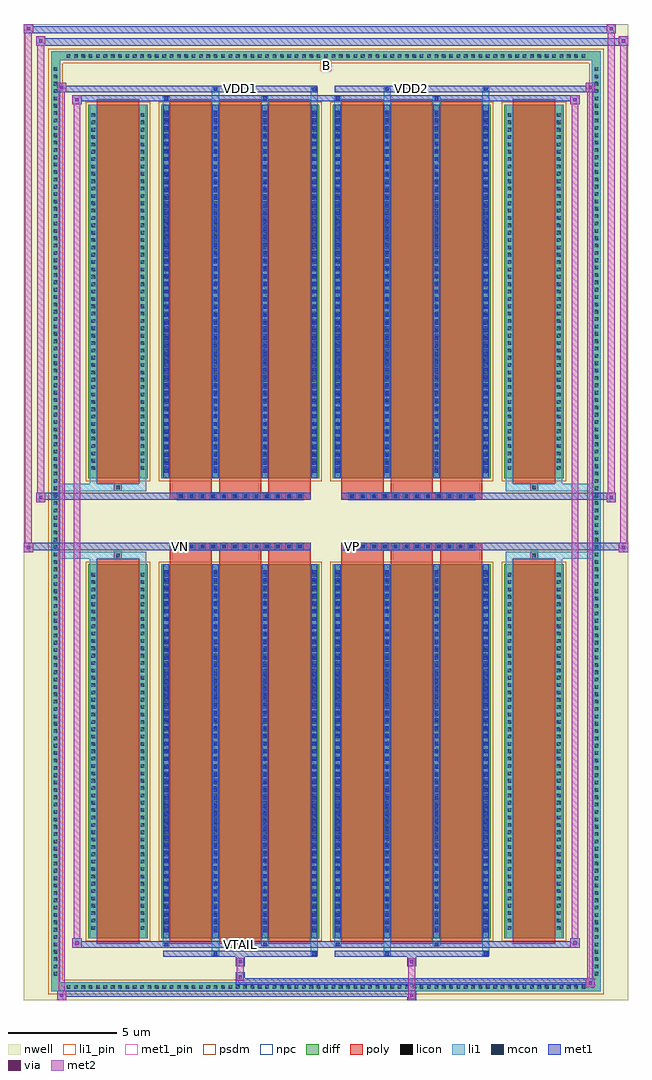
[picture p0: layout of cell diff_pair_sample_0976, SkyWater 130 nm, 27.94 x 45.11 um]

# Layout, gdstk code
import gdstk
lib = gdstk.Library(unit=1e-6, precision=5e-09)
def R(c, l, rs):  # rectangles x0, y0, x1, y1
    for r in rs: c.add(gdstk.rectangle(r[:2], r[2:], *l))
def A(c, l, x, y, w, h, nx, ny, dx, dy):  # array of equal rectangles
    R(c, l, [(x+i*dx, y+j*dy, x+i*dx+w, y+j*dy+h) for i in range(nx) for j in range(ny)])
def P(c, l, *ps):  # polygons
    for p in ps: c.add(gdstk.Polygon(p, *l))
nwell = (64, 20)
diff = (65, 20)
poly = (66, 20)
licon = (66, 44)
li1_pin = (67, 16)
li1 = (67, 20)
mcon = (67, 44)
met1_pin = (68, 16)
met1 = (68, 20)
via = (68, 44)
met2 = (69, 20)
psdm = (94, 20)
npc = (95, 20)

diff_pair_sample_0976 = lib.new_cell('diff_pair_sample_0976')
R(diff_pair_sample_0976, nwell, [(-13.97,-22.12,13.97,22.99), (-11.29,-20.31,-0.01,-0.795), (0.01,-20.31,11.29,-0.795), (-11.29,0.795,-0.01,20.31), (0.01,0.795,11.29,20.31)])
A(diff_pair_sample_0976, diff, -12.105, -21.72, 0.41, 0.41, 71, 2, 0.34, 43.03)
A(diff_pair_sample_0976, diff, -12.7, -21.115, 0.41, 0.41, 1, 124, 0, 0.34)
A(diff_pair_sample_0976, diff, 12.29, -21.115, 0.41, 0.41, 1, 124, 0, 0.34)
R(diff_pair_sample_0976, diff, [(-12.105,-21.72,12.105,-21.31), (-12.7,-21.115,-12.29,21.115), (12.29,-21.115,12.7,21.115), (-10.98,-19.265,-8.25,-1.985), (-7.61,-19.265,-0.32,-1.985), (0.32,-19.265,7.61,-1.985), (8.25,-19.265,10.98,-1.985), (-10.98,1.985,-8.25,19.265), (-7.61,1.985,-0.32,19.265), (0.32,1.985,7.61,19.265), (8.25,1.985,10.98,19.265), (-12.105,21.31,12.105,21.72)])
P(diff_pair_sample_0976, diff, [(12.7,21.72),(-12.7,21.72),(-12.7,-21.31),(-12.29,-21.31),(-12.29,21.31),(12.29,21.31),(12.29,-21.31),(-12.29,-21.31),(-12.7,-21.31),(-12.7,-21.72),(12.7,-21.72)])
A(diff_pair_sample_0976, poly, -7.22, -19.515, 1.95, 17.78, 3, 2, 2.28, 21.25)
A(diff_pair_sample_0976, poly, 0.71, -19.515, 1.95, 17.78, 3, 2, 2.28, 21.25)
A(diff_pair_sample_0976, poly, -7.22, -1.735, 1.95, 0.41, 3, 2, 2.28, 3.06)
A(diff_pair_sample_0976, poly, 0.71, -1.735, 1.95, 0.41, 3, 2, 2.28, 3.06)
A(diff_pair_sample_0976, poly, -6.88, -1.325, 0.33, 0.33, 12, 2, 0.5, 2.32)
A(diff_pair_sample_0976, poly, 1.05, -1.325, 0.33, 0.33, 12, 2, 0.5, 2.32)
R(diff_pair_sample_0976, poly, [(-10.59,-19.515,-8.64,-1.735), (8.64,-19.515,10.59,-1.735), (-9.78,-1.735,-9.45,-1.405), (-9.78,-1.735,-9.45,-1.405), (9.45,-1.735,9.78,-1.405), (9.45,-1.735,9.78,-1.405), (-7.22,-1.325,-0.71,-0.995), (0.71,-1.325,7.22,-0.995), (-7.22,0.995,-0.71,1.325), (0.71,0.995,7.22,1.325), (-9.78,1.405,-9.45,1.735), (-9.78,1.405,-9.45,1.735), (9.45,1.405,9.78,1.735), (9.45,1.405,9.78,1.735), (-10.59,1.735,-8.64,19.515), (8.64,1.735,10.59,19.515)])
A(diff_pair_sample_0976, licon, -11.985, -21.6, 0.17, 0.17, 71, 2, 0.34, 43.03)
A(diff_pair_sample_0976, licon, -12.58, -20.995, 0.17, 0.17, 1, 124, 0, 0.34)
A(diff_pair_sample_0976, licon, 12.41, -20.995, 0.17, 0.17, 1, 124, 0, 0.34)
A(diff_pair_sample_0976, licon, -10.84, -18.87, 0.17, 0.17, 1, 49, 0, 0.34)
A(diff_pair_sample_0976, licon, -8.56, -18.87, 0.17, 0.17, 1, 49, 0, 0.34)
A(diff_pair_sample_0976, licon, -7.47, -18.87, 0.17, 0.17, 4, 49, 2.28, 0.34)
A(diff_pair_sample_0976, licon, 0.46, -18.87, 0.17, 0.17, 4, 49, 2.28, 0.34)
A(diff_pair_sample_0976, licon, 8.39, -18.87, 0.17, 0.17, 1, 49, 0, 0.34)
A(diff_pair_sample_0976, licon, 10.67, -18.87, 0.17, 0.17, 1, 49, 0, 0.34)
A(diff_pair_sample_0976, licon, -6.8, -1.245, 0.17, 0.17, 12, 2, 0.5, 2.32)
A(diff_pair_sample_0976, licon, 1.13, -1.245, 0.17, 0.17, 12, 2, 0.5, 2.32)
A(diff_pair_sample_0976, licon, -10.84, 2.38, 0.17, 0.17, 1, 49, 0, 0.34)
A(diff_pair_sample_0976, licon, -8.56, 2.38, 0.17, 0.17, 1, 49, 0, 0.34)
A(diff_pair_sample_0976, licon, -7.47, 2.38, 0.17, 0.17, 4, 49, 2.28, 0.34)
A(diff_pair_sample_0976, licon, 0.46, 2.38, 0.17, 0.17, 4, 49, 2.28, 0.34)
A(diff_pair_sample_0976, licon, 8.39, 2.38, 0.17, 0.17, 1, 49, 0, 0.34)
A(diff_pair_sample_0976, licon, 10.67, 2.38, 0.17, 0.17, 1, 49, 0, 0.34)
R(diff_pair_sample_0976, licon, [(-9.7,-1.655,-9.53,-1.485), (9.53,-1.655,9.7,-1.485), (-9.7,1.485,-9.53,1.655), (9.53,1.485,9.7,1.655)])
R(diff_pair_sample_0976, li1_pin, [(-0.25,20.81,0.25,21.31)])
A(diff_pair_sample_0976, li1, -12.065, -21.68, 0.33, 0.33, 71, 2, 0.34, 43.03)
A(diff_pair_sample_0976, li1, -12.66, -21.075, 0.33, 0.33, 1, 124, 0, 0.34)
A(diff_pair_sample_0976, li1, 12.33, -21.075, 0.33, 0.33, 1, 124, 0, 0.34)
A(diff_pair_sample_0976, li1, -7.55, -19.265, 0.33, 17.28, 4, 2, 2.28, 21.25)
A(diff_pair_sample_0976, li1, 0.38, -19.265, 0.33, 17.28, 4, 2, 2.28, 21.25)
A(diff_pair_sample_0976, li1, -7.47, -18.99, 0.17, 0.17, 4, 47, 2.28, 0.36)
A(diff_pair_sample_0976, li1, -7.47, -18.99, 0.17, 16.73, 4, 2, 2.28, 21.25)
A(diff_pair_sample_0976, li1, 0.46, -18.99, 0.17, 0.17, 4, 47, 2.28, 0.36)
A(diff_pair_sample_0976, li1, 0.46, -18.99, 0.17, 16.73, 4, 2, 2.28, 21.25)
A(diff_pair_sample_0976, li1, -10.92, -18.95, 0.33, 0.33, 1, 49, 0, 0.34)
A(diff_pair_sample_0976, li1, -8.64, -18.95, 0.33, 0.33, 1, 49, 0, 0.34)
A(diff_pair_sample_0976, li1, -7.55, -18.95, 0.33, 0.33, 4, 49, 2.28, 0.34)
A(diff_pair_sample_0976, li1, 0.38, -18.95, 0.33, 0.33, 4, 49, 2.28, 0.34)
A(diff_pair_sample_0976, li1, 8.31, -18.95, 0.33, 0.33, 1, 49, 0, 0.34)
A(diff_pair_sample_0976, li1, 10.59, -18.95, 0.33, 0.33, 1, 49, 0, 0.34)
A(diff_pair_sample_0976, li1, -6.88, -1.325, 0.33, 0.33, 12, 2, 0.5, 2.32)
A(diff_pair_sample_0976, li1, 1.05, -1.325, 0.33, 0.33, 12, 2, 0.5, 2.32)
A(diff_pair_sample_0976, li1, -7.47, 2.26, 0.17, 0.17, 4, 47, 2.28, 0.36)
A(diff_pair_sample_0976, li1, 0.46, 2.26, 0.17, 0.17, 4, 47, 2.28, 0.36)
A(diff_pair_sample_0976, li1, -10.92, 2.3, 0.33, 0.33, 1, 49, 0, 0.34)
A(diff_pair_sample_0976, li1, -8.64, 2.3, 0.33, 0.33, 1, 49, 0, 0.34)
A(diff_pair_sample_0976, li1, -7.55, 2.3, 0.33, 0.33, 4, 49, 2.28, 0.34)
A(diff_pair_sample_0976, li1, 0.38, 2.3, 0.33, 0.33, 4, 49, 2.28, 0.34)
A(diff_pair_sample_0976, li1, 8.31, 2.3, 0.33, 0.33, 1, 49, 0, 0.34)
A(diff_pair_sample_0976, li1, 10.59, 2.3, 0.33, 0.33, 1, 49, 0, 0.34)
R(diff_pair_sample_0976, li1, [(-12.7,-21.72,-12.29,-21.31), (-12.7,-21.72,-12.29,-21.31), (-12.29,-21.72,12.29,-21.31), (12.29,-21.72,12.7,-21.31), (12.29,-21.72,12.7,-21.31), (-12.7,-21.31,-12.29,21.31), (12.29,-21.31,12.7,21.31), (-5.27,-20.07,-4.94,-19.265), (-5.19,-20.07,-5.02,-19.9), (-0.71,-20.07,-0.38,-19.265), (-0.63,-20.07,-0.46,-19.9), (2.66,-20.07,2.99,-19.265), (2.74,-20.07,2.91,-19.9), (7.22,-20.07,7.55,-19.265), (7.3,-20.07,7.47,-19.9), (-7.55,-19.64,-7.22,-19.265), (-7.47,-19.64,-7.3,-19.47), (-2.99,-19.64,-2.66,-19.265), (-2.91,-19.64,-2.74,-19.47), (0.38,-19.64,0.71,-19.265), (0.46,-19.64,0.63,-19.47), (4.94,-19.64,5.27,-19.265), (5.02,-19.64,5.19,-19.47), (-10.92,-19.265,-10.59,-1.985), (-8.64,-19.265,-8.31,-1.985), (8.31,-19.265,8.64,-1.985), (10.59,-19.265,10.92,-1.985), (-10.92,-1.985,-10.59,-1.405), (-8.64,-1.985,-8.31,-1.405), (8.31,-1.985,8.64,-1.405), (10.59,-1.985,10.92,-1.405), (-12.7,-1.735,-9.78,-1.405), (-10.92,-1.735,-9.78,-1.405), (-9.78,-1.735,-9.45,-1.405), (-9.45,-1.735,-8.31,-1.405), (8.31,-1.735,9.45,-1.405), (9.45,-1.735,9.78,-1.405), (9.45,-1.735,12.7,-1.405), (9.78,-1.735,10.92,-1.405), (-12.7,1.405,-9.78,1.735), (-10.92,1.405,-9.78,1.735), (-10.92,1.405,-10.59,1.985), (-9.78,1.405,-9.45,1.735), (-9.45,1.405,-8.31,1.735), (-8.64,1.405,-8.31,1.985), (8.31,1.405,9.45,1.735), (8.31,1.405,8.64,1.985), (9.45,1.405,9.78,1.735), (9.45,1.405,12.7,1.735), (9.78,1.405,10.92,1.735), (10.59,1.405,10.92,1.985), (-10.92,1.985,-10.59,19.265), (-8.64,1.985,-8.31,19.265), (8.31,1.985,8.64,19.265), (10.59,1.985,10.92,19.265), (-7.55,19.265,-7.22,19.64), (-5.27,19.265,-4.94,20.07), (-2.99,19.265,-2.66,19.64), (-0.71,19.265,-0.38,20.07), (0.38,19.265,0.71,19.64), (2.66,19.265,2.99,20.07), (4.94,19.265,5.27,19.64), (7.22,19.265,7.55,20.07), (-7.47,19.47,-7.3,19.64), (-2.91,19.47,-2.74,19.64), (0.46,19.47,0.63,19.64), (5.02,19.47,5.19,19.64), (-5.19,19.9,-5.02,20.07), (-0.63,19.9,-0.46,20.07), (2.74,19.9,2.91,20.07), (7.3,19.9,7.47,20.07), (-12.7,21.31,-12.29,21.72), (-12.7,21.31,-12.29,21.72), (-12.29,21.31,12.29,21.72), (12.29,21.31,12.7,21.72), (12.29,21.31,12.7,21.72)])
A(diff_pair_sample_0976, mcon, -7.47, -18.99, 0.17, 0.17, 4, 47, 2.28, 0.36)
A(diff_pair_sample_0976, mcon, 0.46, -18.99, 0.17, 0.17, 4, 47, 2.28, 0.36)
A(diff_pair_sample_0976, mcon, -6.8, -1.245, 0.17, 0.17, 12, 2, 0.5, 2.32)
A(diff_pair_sample_0976, mcon, 1.13, -1.245, 0.17, 0.17, 12, 2, 0.5, 2.32)
A(diff_pair_sample_0976, mcon, -7.47, 2.26, 0.17, 0.17, 4, 47, 2.28, 0.36)
A(diff_pair_sample_0976, mcon, 0.46, 2.26, 0.17, 0.17, 4, 47, 2.28, 0.36)
R(diff_pair_sample_0976, mcon, [(-5.19,-20.07,-5.02,-19.9), (-0.63,-20.07,-0.46,-19.9), (2.74,-20.07,2.91,-19.9), (7.3,-20.07,7.47,-19.9), (-7.47,-19.64,-7.3,-19.47), (-2.91,-19.64,-2.74,-19.47), (0.46,-19.64,0.63,-19.47), (5.02,-19.64,5.19,-19.47), (-7.47,19.47,-7.3,19.64), (-2.91,19.47,-2.74,19.64), (0.46,19.47,0.63,19.64), (5.02,19.47,5.19,19.64), (-5.19,19.9,-5.02,20.07), (-0.63,19.9,-0.46,20.07), (2.74,19.9,2.91,20.07), (7.3,19.9,7.47,20.07)])
R(diff_pair_sample_0976, met1_pin, [(-4.1,-19.68,-3.83,-19.41), (-6.85,-1.285,-6.58,-1.015), (1.08,-1.285,1.35,-1.015), (-4.1,19.86,-3.83,20.13), (3.83,19.86,4.1,20.13)])
A(diff_pair_sample_0976, met1, -7.53, -19.265, 0.29, 17.28, 4, 2, 2.28, 21.25)
A(diff_pair_sample_0976, met1, 0.4, -19.265, 0.29, 17.28, 4, 2, 2.28, 21.25)
A(diff_pair_sample_0976, met1, -7.53, -19.05, 0.29, 0.29, 4, 47, 2.28, 0.36)
A(diff_pair_sample_0976, met1, 0.4, -19.05, 0.29, 0.29, 4, 47, 2.28, 0.36)
A(diff_pair_sample_0976, met1, -6.86, -1.305, 0.29, 0.29, 12, 2, 0.5, 2.32)
A(diff_pair_sample_0976, met1, 1.07, -1.305, 0.29, 0.29, 12, 2, 0.5, 2.32)
A(diff_pair_sample_0976, met1, -7.53, 2.2, 0.29, 0.29, 4, 47, 2.28, 0.36)
A(diff_pair_sample_0976, met1, 0.4, 2.2, 0.29, 0.29, 4, 47, 2.28, 0.36)
R(diff_pair_sample_0976, met1, [(-12.43,-22.12,-12,-21.69), (3.75,-22.12,4.18,-21.69), (-12.43,-21.98,4.18,-21.69), (12,-21.55,12.43,-21.12), (-4.18,-21.41,12.43,-21.12), (-4.18,-21.27,-3.75,-20.84), (-4.18,-20.56,-3.75,-20.13), (3.75,-20.56,4.18,-20.13), (-7.53,-20.13,-0.4,-19.84), (-5.25,-20.13,-4.96,-19.84), (-0.69,-20.13,-0.4,-19.84), (0.4,-20.13,7.53,-19.84), (2.68,-20.13,2.97,-19.84), (7.24,-20.13,7.53,-19.84), (-11.72,-19.7,-11.29,-19.27), (-11.72,-19.7,-7.53,-19.41), (-7.53,-19.7,-7.24,-19.41), (-7.53,-19.7,-0.4,-19.41), (-2.97,-19.7,-2.68,-19.41), (-0.4,-19.7,0.4,-19.41), (0.4,-19.7,0.69,-19.41), (0.4,-19.7,7.53,-19.41), (4.96,-19.7,5.25,-19.41), (7.53,-19.7,11.72,-19.41), (11.29,-19.7,11.72,-19.27), (-13.97,-1.425,-13.54,-0.995), (13.54,-1.425,13.97,-0.995), (-13.97,-1.325,-0.71,-0.995), (-7.22,-1.325,-0.71,-0.995), (0.71,-1.325,7.22,-0.995), (0.71,-1.325,13.97,-0.995), (-13.4,0.895,-12.97,1.325), (12.97,0.895,13.4,1.325), (-13.4,0.995,-7.22,1.325), (-7.22,0.995,-0.71,1.325), (0.71,0.995,7.22,1.325), (7.22,0.995,13.4,1.325), (-11.72,19.27,-11.29,19.7), (11.29,19.27,11.72,19.7), (-11.72,19.41,-7.53,19.7), (-7.53,19.41,-7.24,19.7), (-7.53,19.41,-0.4,19.7), (-2.97,19.41,-2.68,19.7), (-0.4,19.41,0.4,19.7), (0.4,19.41,0.69,19.7), (0.4,19.41,7.53,19.7), (4.96,19.41,5.25,19.7), (7.53,19.41,11.72,19.7), (-12.43,19.84,-12,20.27), (-12.43,19.84,-7.53,20.13), (-7.53,19.84,-0.4,20.13), (-5.25,19.84,-4.96,20.13), (-0.69,19.84,-0.4,20.13), (0.4,19.84,7.53,20.13), (2.68,19.84,2.97,20.13), (7.24,19.84,7.53,20.13), (7.53,19.84,12.43,20.13), (12,19.84,12.43,20.27), (-13.4,21.99,-12.97,22.42), (-13.4,21.99,-11.29,22.32), (-11.29,21.99,11.29,22.32), (11.29,21.99,13.97,22.32), (13.54,21.99,13.97,22.42), (-13.97,22.56,-13.54,22.99), (-13.97,22.56,-11.29,22.89), (-11.29,22.56,11.29,22.89), (11.29,22.56,13.4,22.89), (12.97,22.56,13.4,22.99)])
R(diff_pair_sample_0976, via, [(-12.29,-21.98,-12.14,-21.83), (3.89,-21.98,4.04,-21.83), (12.14,-21.41,12.29,-21.26), (-4.04,-21.13,-3.89,-20.98), (-4.04,-20.42,-3.89,-20.27), (3.89,-20.42,4.04,-20.27), (-11.58,-19.56,-11.43,-19.41), (11.43,-19.56,11.58,-19.41), (-13.83,-1.285,-13.68,-1.135), (13.68,-1.285,13.83,-1.135), (-13.26,1.035,-13.11,1.185), (13.11,1.035,13.26,1.185), (-11.58,19.41,-11.43,19.56), (11.43,19.41,11.58,19.56), (-12.29,19.98,-12.14,20.13), (12.14,19.98,12.29,20.13), (-13.26,22.13,-13.11,22.28), (13.68,22.13,13.83,22.28), (-13.83,22.7,-13.68,22.85), (13.11,22.7,13.26,22.85)])
R(diff_pair_sample_0976, met2, [(-12.43,-22.12,-12,-21.69), (-12.36,-22.12,-12.07,20.27), (-12.07,-22.12,-12,-21.69), (-12.38,-22.07,-12.05,-21.74), (3.8,-22.07,4.13,-21.74), (3.8,-21.74,4.13,-20.51), (12,-21.55,12.43,-21.12), (12.07,-21.55,12.36,20.27), (12.36,-21.55,12.43,-21.12), (12.05,-21.5,12.38,-21.17), (-4.13,-21.22,-3.8,-20.89), (-4.13,-20.89,-3.8,-20.51), (-4.13,-20.51,-3.8,-20.18), (3.8,-20.51,4.13,-20.18), (-11.72,-19.7,-11.29,-19.27), (-11.65,-19.7,-11.36,19.7), (-11.36,-19.7,-11.29,-19.27), (11.29,-19.7,11.72,-19.27), (11.36,-19.7,11.65,19.7), (11.65,-19.7,11.72,-19.27), (-11.67,-19.65,-11.34,-19.32), (11.34,-19.65,11.67,-19.32), (-13.97,-1.425,-13.54,-0.995), (-13.92,-1.425,-13.59,22.99), (-13.59,-1.425,-13.54,-0.995), (13.54,-1.425,13.97,-0.995), (13.59,-1.425,13.92,22.42), (13.92,-1.425,13.97,-0.995), (-13.92,-1.375,-13.59,-1.045), (13.59,-1.375,13.92,-1.045), (-13.4,0.895,-12.97,1.325), (-13.35,0.895,-13.02,22.42), (-13.02,0.895,-12.97,1.325), (12.97,0.895,13.4,1.325), (13.02,0.895,13.35,22.99), (13.35,0.895,13.4,1.325), (-13.35,0.945,-13.02,1.275), (13.02,0.945,13.35,1.275), (-11.72,19.27,-11.29,19.7), (-11.36,19.27,-11.29,19.7), (11.29,19.27,11.72,19.7), (11.65,19.27,11.72,19.7), (-11.67,19.32,-11.34,19.65), (11.34,19.32,11.67,19.65), (-12.43,19.84,-12,20.27), (-12.07,19.84,-12,20.27), (12,19.84,12.43,20.27), (12.36,19.84,12.43,20.27), (-12.38,19.89,-12.05,20.22), (12.05,19.89,12.38,20.22), (-13.4,21.99,-12.97,22.42), (-13.02,21.99,-12.97,22.42), (13.54,21.99,13.97,22.42), (13.92,21.99,13.97,22.42), (-13.35,22.04,-13.02,22.37), (13.59,22.04,13.92,22.37), (-13.97,22.56,-13.54,22.99), (-13.59,22.56,-13.54,22.99), (12.97,22.56,13.4,22.99), (13.35,22.56,13.4,22.99), (-13.92,22.61,-13.59,22.94), (13.02,22.61,13.35,22.94)])
R(diff_pair_sample_0976, psdm, [(-11.11,-19.395,-8.12,-1.855), (-7.74,-19.395,-0.19,-1.855), (0.19,-19.395,7.74,-1.855), (8.12,-19.395,11.11,-1.855), (-11.11,1.855,-8.12,19.395), (-7.74,1.855,-0.19,19.395), (0.19,1.855,7.74,19.395), (8.12,1.855,11.11,19.395)])
P(diff_pair_sample_0976, psdm, [(12.83,21.85),(-12.83,21.85),(-12.83,-21.18),(-12.16,-21.18),(-12.16,21.18),(12.16,21.18),(12.16,-21.18),(-12.16,-21.18),(-12.83,-21.18),(-12.83,-21.85),(12.83,-21.85)])
A(diff_pair_sample_0976, npc, -6.9, -1.345, 0.37, 0.37, 12, 2, 0.5, 2.32)
A(diff_pair_sample_0976, npc, 1.03, -1.345, 0.37, 0.37, 12, 2, 0.5, 2.32)
R(diff_pair_sample_0976, npc, [(-9.8,-1.755,-9.43,-1.385), (9.43,-1.755,9.8,-1.385), (-6.9,-1.345,-6.03,-0.975), (-6.9,-1.345,-6.03,-0.975), (-6.4,-1.345,-5.53,-0.975), (-6.4,-1.345,-5.53,-0.975), (-5.9,-1.345,-5.03,-0.975), (-5.9,-1.345,-5.03,-0.975), (-5.4,-1.345,-4.53,-0.975), (-5.4,-1.345,-4.53,-0.975), (-4.9,-1.345,-4.03,-0.975), (-4.9,-1.345,-4.03,-0.975), (-4.4,-1.345,-3.53,-0.975), (-4.4,-1.345,-3.53,-0.975), (-3.9,-1.345,-3.03,-0.975), (-3.9,-1.345,-3.03,-0.975), (-3.4,-1.345,-2.53,-0.975), (-3.4,-1.345,-2.53,-0.975), (-2.9,-1.345,-2.03,-0.975), (-2.9,-1.345,-2.03,-0.975), (-2.4,-1.345,-1.53,-0.975), (-2.4,-1.345,-1.53,-0.975), (-1.9,-1.345,-1.03,-0.975), (-1.9,-1.345,-1.03,-0.975), (1.03,-1.345,1.9,-0.975), (1.03,-1.345,1.9,-0.975), (1.53,-1.345,2.4,-0.975), (1.53,-1.345,2.4,-0.975), (2.03,-1.345,2.9,-0.975), (2.03,-1.345,2.9,-0.975), (2.53,-1.345,3.4,-0.975), (2.53,-1.345,3.4,-0.975), (3.03,-1.345,3.9,-0.975), (3.03,-1.345,3.9,-0.975), (3.53,-1.345,4.4,-0.975), (3.53,-1.345,4.4,-0.975), (4.03,-1.345,4.9,-0.975), (4.03,-1.345,4.9,-0.975), (4.53,-1.345,5.4,-0.975), (4.53,-1.345,5.4,-0.975), (5.03,-1.345,5.9,-0.975), (5.03,-1.345,5.9,-0.975), (5.53,-1.345,6.4,-0.975), (5.53,-1.345,6.4,-0.975), (6.03,-1.345,6.9,-0.975), (6.03,-1.345,6.9,-0.975), (-6.9,0.975,-6.03,1.345), (-6.9,0.975,-6.03,1.345), (-6.4,0.975,-5.53,1.345), (-6.4,0.975,-5.53,1.345), (-5.9,0.975,-5.03,1.345), (-5.9,0.975,-5.03,1.345), (-5.4,0.975,-4.53,1.345), (-5.4,0.975,-4.53,1.345), (-4.9,0.975,-4.03,1.345), (-4.9,0.975,-4.03,1.345), (-4.4,0.975,-3.53,1.345), (-4.4,0.975,-3.53,1.345), (-3.9,0.975,-3.03,1.345), (-3.9,0.975,-3.03,1.345), (-3.4,0.975,-2.53,1.345), (-3.4,0.975,-2.53,1.345), (-2.9,0.975,-2.03,1.345), (-2.9,0.975,-2.03,1.345), (-2.4,0.975,-1.53,1.345), (-2.4,0.975,-1.53,1.345), (-1.9,0.975,-1.03,1.345), (-1.9,0.975,-1.03,1.345), (1.03,0.975,1.9,1.345), (1.03,0.975,1.9,1.345), (1.53,0.975,2.4,1.345), (1.53,0.975,2.4,1.345), (2.03,0.975,2.9,1.345), (2.03,0.975,2.9,1.345), (2.53,0.975,3.4,1.345), (2.53,0.975,3.4,1.345), (3.03,0.975,3.9,1.345), (3.03,0.975,3.9,1.345), (3.53,0.975,4.4,1.345), (3.53,0.975,4.4,1.345), (4.03,0.975,4.9,1.345), (4.03,0.975,4.9,1.345), (4.53,0.975,5.4,1.345), (4.53,0.975,5.4,1.345), (5.03,0.975,5.9,1.345), (5.03,0.975,5.9,1.345), (5.53,0.975,6.4,1.345), (5.53,0.975,6.4,1.345), (6.03,0.975,6.9,1.345), (6.03,0.975,6.9,1.345), (-9.8,1.385,-9.43,1.755), (9.43,1.385,9.8,1.755)])
diff_pair_sample_0976.add(gdstk.Label('VTAIL', (-3.965,-19.545), layer=68, texttype=5))
diff_pair_sample_0976.add(gdstk.Label('VN', (-6.715,-1.15), layer=68, texttype=5))
diff_pair_sample_0976.add(gdstk.Label('VP', (1.215,-1.15), layer=68, texttype=5))
diff_pair_sample_0976.add(gdstk.Label('B', (0,21.06), layer=67, texttype=5))
diff_pair_sample_0976.add(gdstk.Label('VDD2', (3.965,19.995), layer=68, texttype=5))
diff_pair_sample_0976.add(gdstk.Label('VDD1', (-3.965,19.995), layer=68, texttype=5))

lib.write_gds('diff_pair_sample_0976.gds')
